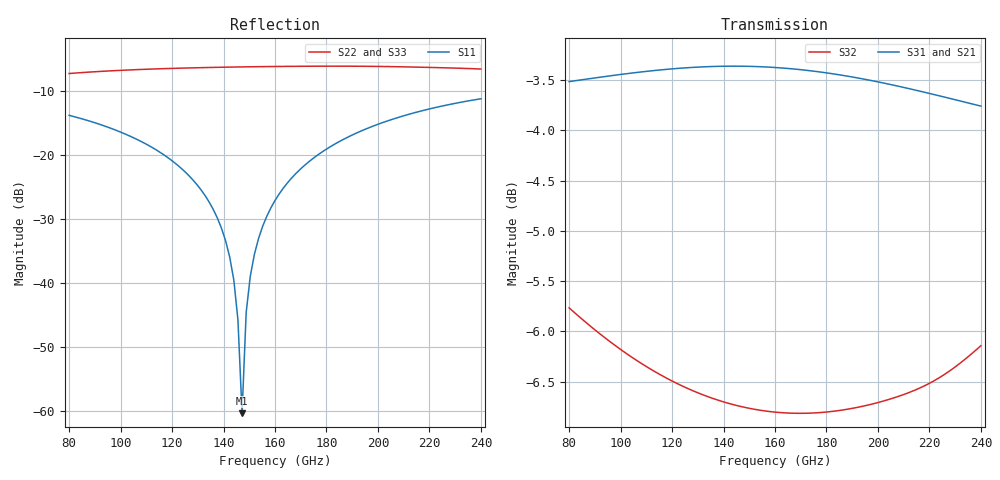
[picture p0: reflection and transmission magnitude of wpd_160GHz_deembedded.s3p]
! Created with skrf 2.0.1 (http://scikit-rf.org).
# GHz S DB R 50.0
!freq dBS11 angS11 dBS12 angS12 dBS13 angS13
! dBS21 angS21 dBS22 angS22 dBS23 angS23
! dBS31 angS31 dBS32 angS32 dBS33 angS33
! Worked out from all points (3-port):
!   101 points, 80 GHz to 240 GHz, reference 50 ohm
!   strongest paths, dB at 80 GHz, 120 GHz, 160 GHz, 200 GHz, 240 GHz:
!     S31: -3.5, -3.4, -3.4, -3.5, -3.8
!     S21: -3.5, -3.4, -3.4, -3.5, -3.8
!     S32: -5.8, -6.5, -6.8, -6.7, -6.1
!   lowest |S11| = -60.3 dB at 147.2 GHz (marker M1), VSWR 1.00, Z = 50.1 - j0.0115 ohm
!   |S11| at or under -10 dB: start of sweep to end of sweep
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80  -13.84 139.9  -3.52 -42.7  -3.52 -42.7
    -3.52 -42.7  -7.32 52.0  -5.77 -98.4
    -3.52 -42.7  -5.77 -98.4  -7.33 52.0
134.4  -27.36 111.5  -3.38 -73.3  -3.37 -73.3
       -3.38 -73.3  -6.38 12.8  -6.65 -155.3
       -3.37 -73.3  -6.65 -155.3  -6.40 12.8
144  -39.54 102.9  -3.37 -78.8  -3.36 -78.8
     -3.37 -78.8  -6.31 7.2  -6.73 -165.0
     -3.36 -78.8  -6.73 -165.0  -6.32 7.1
145.6  -45.77 97.0  -3.37 -79.7  -3.36 -79.7
       -3.37 -79.7  -6.30 6.2  -6.74 -166.7
       -3.36 -79.7  -6.74 -166.7  -6.31 6.2
147.2  -60.32 -6.8  -3.37 -80.7  -3.36 -80.7
       -3.37 -80.7  -6.29 5.3  -6.75 -168.3
       -3.36 -80.7  -6.75 -168.3  -6.30 5.3
148.8  -44.59 -66.0  -3.37 -81.6  -3.37 -81.6
       -3.37 -81.6  -6.28 4.4  -6.76 -169.9
       -3.37 -81.6  -6.76 -169.9  -6.30 4.3
150.4  -38.93 -71.0  -3.37 -82.5  -3.37 -82.5
       -3.37 -82.5  -6.27 3.5  -6.77 -171.5
       -3.37 -82.5  -6.77 -171.5  -6.29 3.4
160  -27.13 -79.3  -3.38 -88.1  -3.38 -88.1
     -3.38 -88.1  -6.22 -2.0  -6.80 178.8
     -3.38 -88.1  -6.80 178.8  -6.24 -2.1
188.8  -17.15 -94.8  -3.47 -104.6  -3.47 -104.6
       -3.47 -104.6  -6.18 -18.7  -6.77 149.6
       -3.47 -104.6  -6.77 149.6  -6.19 -18.7
240  -11.26 -120.1  -3.77 -133.0  -3.76 -133.1
     -3.77 -133.0  -6.62 -53.1  -6.14 97.0
     -3.76 -133.1  -6.14 97.0  -6.64 -53.3
